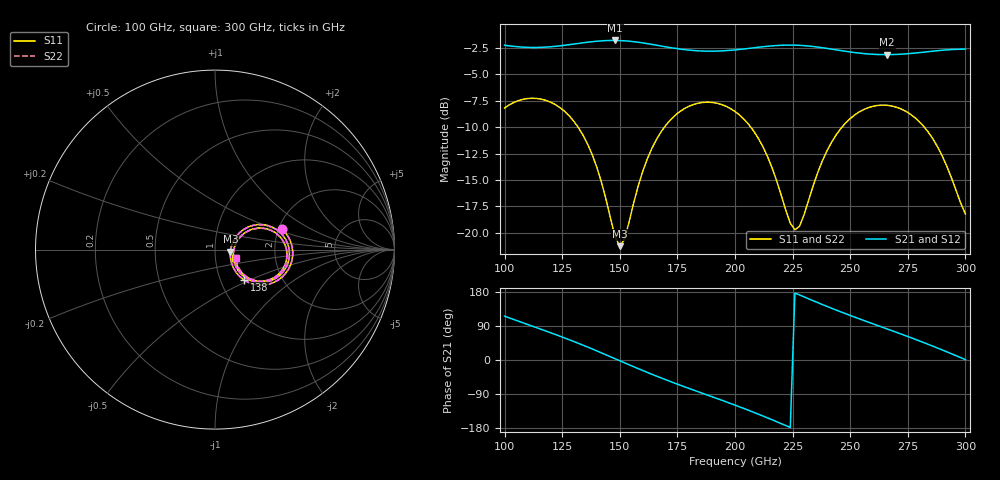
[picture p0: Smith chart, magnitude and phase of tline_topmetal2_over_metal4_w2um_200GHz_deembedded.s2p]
! Created with skrf 2.2.0 (http://scikit-rf.org).
# GHz S DB R 50.0
! Port[1] = P1
! Port[2] = P2
!freq dBS11 angS11 dBS21 angS21 dBS12 angS12 dBS22 angS22
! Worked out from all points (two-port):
!   101 points, 100 GHz to 300 GHz, reference 50 ohm
!   highest |S21| = -1.78 dB at 148 GHz (marker M1); lowest = -3.1 dB at 266 GHz (marker M2)
!   |S21| within 3 dB of the highest: start of sweep to end of sweep
!   lowest |S11| = -21.3 dB at 150 GHz (marker M3), VSWR 1.19, Z = 59.3 - j1.4 ohm
!   |S11| at or under -10 dB: 131.9 GHz to 169.4 GHz (37.43 GHz wide, 24.8 % of centre); 206.9 GHz to 246.4 GHz (39.53 GHz wide, 17.4 % of centre); 282.2 GHz to end of sweep
!   |S22| runs from -21.2 to -7.2 dB; largest |S21 - S12| = 9e-14
!   S11 on the Smith chart (normalised r, x): 100 GHz: 2.09, +0.56; 138 GHz: 1.29, -0.46; 300 GHz: 1.25, -0.12
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100  -8.17 16.9  -2.23 115.7  -2.23 115.7  -8.17 16.7
110  -7.28 -0.8  -2.43 93.7  -2.43 93.7  -7.27 -0.9
118  -7.46 -14.9  -2.40 76.3  -2.40 76.3  -7.45 -15.0
134  -10.74 -41.6  -2.00 39.2  -2.00 39.2  -10.74 -41.7
138  -12.59 -46.2  -1.89 29.2  -1.89 29.2  -12.58 -46.3
148  -20.39 -26.4  -1.78 3.2  -1.78 3.2  -20.35 -26.3
150  -21.27 -7.8  -1.79 -2.0  -1.79 -2.0  -21.21 -7.8
152  -20.63 11.4  -1.81 -7.3  -1.81 -7.3  -20.57 11.2
158  -15.55 34.6  -1.95 -22.8  -1.95 -22.8  -15.53 34.3
168  -10.41 27.5  -2.31 -47.5  -2.31 -47.5  -10.39 27.2
184  -7.72 1.6  -2.76 -83.7  -2.76 -83.7  -7.71 1.4
200  -8.50 -24.9  -2.67 -119.1  -2.67 -119.1  -8.50 -25.1
214  -12.72 -42.8  -2.33 -152.5  -2.33 -152.5  -12.70 -42.8
226  -19.71 -9.2  -2.22 176.8  -2.22 176.8  -19.63 -9.3
234  -15.50 28.1  -2.35 156.2  -2.35 156.2  -15.46 27.7
242  -11.39 26.5  -2.60 136.4  -2.60 136.4  -11.37 26.1
250  -9.18 16.0  -2.87 117.6  -2.87 117.6  -9.17 15.7
266  -7.92 -9.3  -3.12 82.0  -3.12 82.0  -7.91 -9.4
268  -7.98 -12.5  -3.11 77.6  -3.11 77.6  -7.97 -12.6
284  -10.50 -36.0  -2.84 41.0  -2.84 41.0  -10.47 -35.9
292  -13.72 -41.2  -2.67 21.4  -2.67 21.4  -13.65 -40.8
300  -18.22 -22.8  -2.60 1.0  -2.60 1.0  -17.99 -22.5
